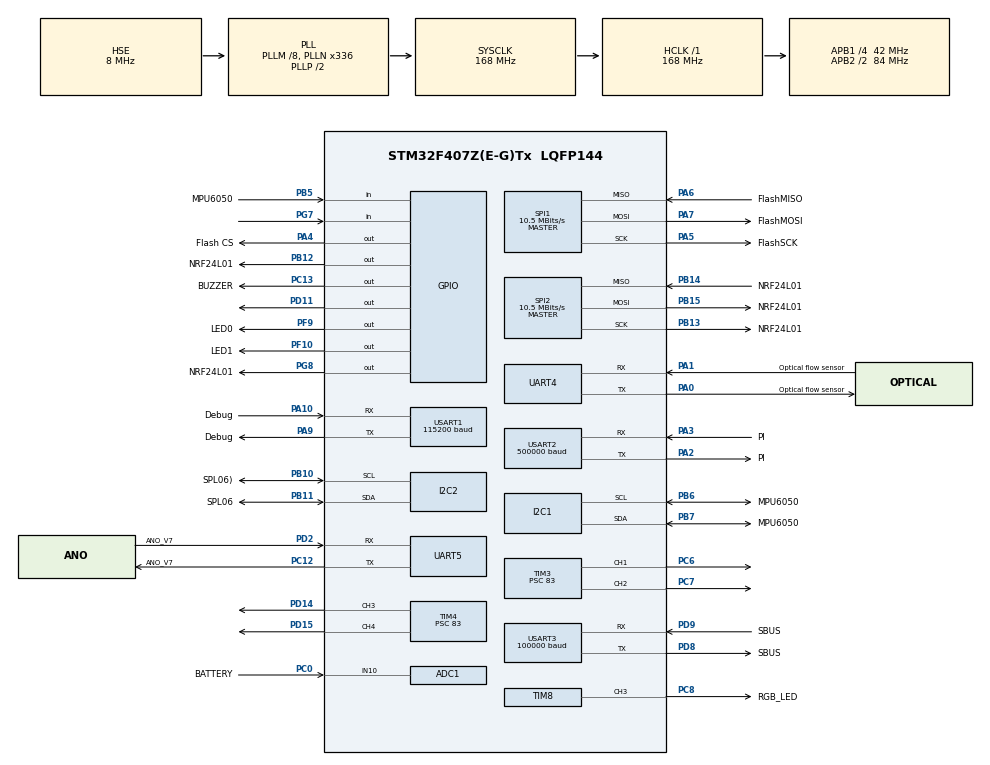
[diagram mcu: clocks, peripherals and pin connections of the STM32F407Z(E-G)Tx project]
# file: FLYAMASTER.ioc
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ADC1.Channel-1\#ChannelRegularConversion=ADC_CHANNEL_10
ADC1.NbrOfConversion=1
ADC1.NbrOfConversionFlag=1
ADC1.Rank-1\#ChannelRegularConversion=1
ADC1.SamplingTime-1\#ChannelRegularConversion=ADC_SAMPLETIME_480CYCLES
ADC1.master=1
Dma.Request0=USART2_RX
Dma.Request1=USART2_TX
Dma.Request2=USART3_RX
Dma.Request3=SPI1_RX
Dma.Request4=SPI1_TX
Dma.Request5=TIM8_CH3
Dma.Request6=UART4_RX
Dma.Request7=USART1_TX
Dma.Request8=UART5_RX
Dma.Request9=UART5_TX
Dma.SPI1_RX.3.Direction=DMA_PERIPH_TO_MEMORY
Dma.SPI1_RX.3.FIFOMode=DMA_FIFOMODE_DISABLE
Dma.SPI1_RX.3.Instance=DMA2_Stream0
Dma.SPI1_RX.3.MemDataAlignment=DMA_MDATAALIGN_BYTE
Dma.SPI1_RX.3.MemInc=DMA_MINC_ENABLE
Dma.SPI1_RX.3.Mode=DMA_NORMAL
Dma.SPI1_RX.3.PeriphDataAlignment=DMA_PDATAALIGN_BYTE
Dma.SPI1_RX.3.PeriphInc=DMA_PINC_DISABLE
Dma.SPI1_RX.3.Priority=DMA_PRIORITY_LOW
Dma.SPI1_TX.4.Direction=DMA_MEMORY_TO_PERIPH
Dma.SPI1_TX.4.FIFOMode=DMA_FIFOMODE_DISABLE
Dma.SPI1_TX.4.Instance=DMA2_Stream3
Dma.SPI1_TX.4.MemDataAlignment=DMA_MDATAALIGN_BYTE
Dma.SPI1_TX.4.MemInc=DMA_MINC_ENABLE
Dma.SPI1_TX.4.Mode=DMA_NORMAL
Dma.SPI1_TX.4.PeriphDataAlignment=DMA_PDATAALIGN_BYTE
Dma.SPI1_TX.4.PeriphInc=DMA_PINC_DISABLE
Dma.SPI1_TX.4.Priority=DMA_PRIORITY_LOW
Dma.TIM8_CH3.5.Direction=DMA_MEMORY_TO_PERIPH
Dma.TIM8_CH3.5.FIFOMode=DMA_FIFOMODE_DISABLE
Dma.TIM8_CH3.5.Instance=DMA2_Stream4
Dma.TIM8_CH3.5.MemDataAlignment=DMA_MDATAALIGN_WORD
Dma.TIM8_CH3.5.MemInc=DMA_MINC_ENABLE
Dma.TIM8_CH3.5.Mode=DMA_NORMAL
Dma.TIM8_CH3.5.PeriphDataAlignment=DMA_PDATAALIGN_WORD
Dma.TIM8_CH3.5.PeriphInc=DMA_PINC_DISABLE
Dma.TIM8_CH3.5.Priority=DMA_PRIORITY_HIGH
Dma.UART4_RX.6.Direction=DMA_PERIPH_TO_MEMORY
Dma.UART4_RX.6.FIFOMode=DMA_FIFOMODE_DISABLE
Dma.UART4_RX.6.Instance=DMA1_Stream2
Dma.UART4_RX.6.MemDataAlignment=DMA_MDATAALIGN_BYTE
Dma.UART4_RX.6.MemInc=DMA_MINC_ENABLE
Dma.UART4_RX.6.Mode=DMA_CIRCULAR
Dma.UART4_RX.6.PeriphDataAlignment=DMA_PDATAALIGN_BYTE
Dma.UART4_RX.6.PeriphInc=DMA_PINC_DISABLE
Dma.UART4_RX.6.Priority=DMA_PRIORITY_MEDIUM
Dma.UART5_RX.8.Direction=DMA_PERIPH_TO_MEMORY
Dma.UART5_RX.8.FIFOMode=DMA_FIFOMODE_DISABLE
Dma.UART5_RX.8.Instance=DMA1_Stream0
Dma.UART5_RX.8.MemDataAlignment=DMA_MDATAALIGN_BYTE
Dma.UART5_RX.8.MemInc=DMA_MINC_ENABLE
Dma.UART5_RX.8.Mode=DMA_CIRCULAR
Dma.UART5_RX.8.PeriphDataAlignment=DMA_PDATAALIGN_BYTE
Dma.UART5_RX.8.PeriphInc=DMA_PINC_DISABLE
Dma.UART5_RX.8.Priority=DMA_PRIORITY_LOW
Dma.UART5_TX.9.Direction=DMA_MEMORY_TO_PERIPH
Dma.UART5_TX.9.FIFOMode=DMA_FIFOMODE_DISABLE
Dma.UART5_TX.9.Instance=DMA1_Stream7
Dma.UART5_TX.9.MemDataAlignment=DMA_MDATAALIGN_BYTE
Dma.UART5_TX.9.MemInc=DMA_MINC_ENABLE
Dma.UART5_TX.9.Mode=DMA_CIRCULAR
Dma.UART5_TX.9.PeriphDataAlignment=DMA_PDATAALIGN_BYTE
Dma.UART5_TX.9.PeriphInc=DMA_PINC_DISABLE
Dma.UART5_TX.9.Priority=DMA_PRIORITY_LOW
Dma.USART1_TX.7.Direction=DMA_MEMORY_TO_PERIPH
Dma.USART1_TX.7.FIFOMode=DMA_FIFOMODE_DISABLE
Dma.USART1_TX.7.Instance=DMA2_Stream7
Dma.USART1_TX.7.MemDataAlignment=DMA_MDATAALIGN_BYTE
Dma.USART1_TX.7.MemInc=DMA_MINC_ENABLE
Dma.USART1_TX.7.Mode=DMA_NORMAL
Dma.USART1_TX.7.PeriphDataAlignment=DMA_PDATAALIGN_BYTE
Dma.USART1_TX.7.PeriphInc=DMA_PINC_DISABLE
Dma.USART1_TX.7.Priority=DMA_PRIORITY_LOW
Dma.USART2_RX.0.Direction=DMA_PERIPH_TO_MEMORY
Dma.USART2_RX.0.FIFOMode=DMA_FIFOMODE_DISABLE
Dma.USART2_RX.0.Instance=DMA1_Stream5
Dma.USART2_RX.0.MemDataAlignment=DMA_MDATAALIGN_BYTE
Dma.USART2_RX.0.MemInc=DMA_MINC_ENABLE
Dma.USART2_RX.0.Mode=DMA_CIRCULAR
Dma.USART2_RX.0.PeriphDataAlignment=DMA_PDATAALIGN_BYTE
Dma.USART2_RX.0.PeriphInc=DMA_PINC_DISABLE
Dma.USART2_RX.0.Priority=DMA_PRIORITY_MEDIUM
Dma.USART2_TX.1.Direction=DMA_MEMORY_TO_PERIPH
Dma.USART2_TX.1.FIFOMode=DMA_FIFOMODE_DISABLE
Dma.USART2_TX.1.Instance=DMA1_Stream6
Dma.USART2_TX.1.MemDataAlignment=DMA_MDATAALIGN_BYTE
Dma.USART2_TX.1.MemInc=DMA_MINC_ENABLE
Dma.USART2_TX.1.Mode=DMA_CIRCULAR
Dma.USART2_TX.1.PeriphDataAlignment=DMA_PDATAALIGN_BYTE
Dma.USART2_TX.1.PeriphInc=DMA_PINC_DISABLE
Dma.USART2_TX.1.Priority=DMA_PRIORITY_MEDIUM
Dma.USART3_RX.2.Direction=DMA_PERIPH_TO_MEMORY
Dma.USART3_RX.2.FIFOMode=DMA_FIFOMODE_DISABLE
Dma.USART3_RX.2.Instance=DMA1_Stream1
Dma.USART3_RX.2.MemDataAlignment=DMA_MDATAALIGN_BYTE
Dma.USART3_RX.2.MemInc=DMA_MINC_ENABLE
Dma.USART3_RX.2.Mode=DMA_CIRCULAR
Dma.USART3_RX.2.PeriphDataAlignment=DMA_PDATAALIGN_BYTE
Dma.USART3_RX.2.PeriphInc=DMA_PINC_DISABLE
Dma.USART3_RX.2.Priority=DMA_PRIORITY_HIGH
FREERTOS.Tasks01=defaultTask,0,128,StartDefaultTask,Default,NULL,Dynamic,NULL,NULL;ctl_task,2,512,StartCtlTask,Default,NULL,Dynamic,NULL,NULL;imu_task,3,512,StartImuTask,Default,NULL,Dynamic,NULL,NULL;comm_task,1,256,StartCommTask,Default,NULL,Dynamic,NULL,NULL
I2C1.I2C_Mode=I2C_Fast
Mcu.Family=STM32F4
Mcu.Name=STM32F407Z(E-G)Tx
Mcu.Package=LQFP144
NVIC.DMA1_Stream0_IRQn=true\:5\:0\:false\:false\:true\:true\:false\:true\:true
NVIC.DMA1_Stream1_IRQn=true\:5\:0\:true\:false\:true\:true\:false\:true\:true
NVIC.DMA1_Stream2_IRQn=true\:5\:0\:false\:false\:true\:true\:false\:true\:true
NVIC.DMA1_Stream5_IRQn=true\:5\:0\:false\:false\:true\:true\:false\:true\:true
NVIC.DMA1_Stream6_IRQn=true\:5\:0\:false\:false\:true\:true\:false\:true\:true
NVIC.DMA1_Stream7_IRQn=true\:5\:0\:false\:false\:true\:true\:false\:true\:true
NVIC.DMA2_Stream0_IRQn=true\:5\:0\:false\:false\:true\:true\:false\:true\:true
NVIC.DMA2_Stream3_IRQn=true\:5\:0\:false\:false\:true\:true\:false\:true\:true
NVIC.DMA2_Stream4_IRQn=true\:5\:0\:false\:false\:true\:true\:false\:true\:true
NVIC.DMA2_Stream7_IRQn=true\:5\:0\:false\:false\:true\:true\:false\:true\:true
NVIC.I2C1_ER_IRQn=true\:7\:0\:true\:false\:true\:true\:true\:true\:true
NVIC.I2C1_EV_IRQn=true\:7\:0\:true\:false\:true\:true\:true\:true\:true
NVIC.PriorityGroup=NVIC_PRIORITYGROUP_4
NVIC.TIM3_IRQn=true\:9\:0\:true\:false\:true\:true\:true\:true\:true
NVIC.TIM4_IRQn=true\:9\:0\:true\:false\:true\:true\:true\:true\:true
NVIC.TIM7_IRQn=true\:15\:0\:false\:false\:true\:false\:false\:true\:true
NVIC.TIM8_UP_TIM13_IRQn=true\:5\:0\:false\:false\:true\:true\:true\:true\:true
NVIC.TimeBase=TIM7_IRQn
NVIC.TimeBaseIP=TIM7
NVIC.UART4_IRQn=true\:5\:0\:false\:false\:true\:true\:true\:true\:true
NVIC.UART5_IRQn=true\:5\:0\:false\:false\:true\:true\:true\:true\:true
NVIC.USART1_IRQn=true\:8\:0\:true\:false\:true\:true\:true\:true\:true
NVIC.USART2_IRQn=true\:8\:0\:true\:false\:true\:true\:false\:true\:true
NVIC.USART3_IRQn=true\:5\:0\:false\:false\:true\:true\:true\:true\:true
PA0-WKUP.GPIO_Label=Optical flow sensor
PA0-WKUP.GPIO_ModeDefaultPP=GPIO_MODE_AF_PP
PA0-WKUP.GPIO_PuPd=GPIO_NOPULL
PA0-WKUP.GPIO_Speed=GPIO_SPEED_FREQ_VERY_HIGH
PA0-WKUP.Mode=Asynchronous
PA0-WKUP.Signal=UART4_TX
PA1.GPIO_Label=Optical flow sensor
PA1.GPIO_ModeDefaultPP=GPIO_MODE_AF_PP
PA1.GPIO_PuPd=GPIO_NOPULL
PA1.GPIO_Speed=GPIO_SPEED_FREQ_VERY_HIGH
PA1.Mode=Asynchronous
PA1.Signal=UART4_RX
PA10.GPIO_Label=Debug
PA10.GPIO_PuPd=GPIO_PULLUP
PA10.Mode=Asynchronous
PA10.Signal=USART1_RX
PA13.Mode=Serial_Wire
PA13.Signal=SYS_JTMS-SWDIO
PA14.Mode=Serial_Wire
PA14.Signal=SYS_JTCK-SWCLK
PA2.GPIO_Label=PI
PA2.GPIO_PuPd=GPIO_PULLUP
PA2.Mode=Asynchronous
PA2.Signal=USART2_TX
PA3.GPIO_Label=PI
PA3.GPIO_PuPd=GPIO_PULLUP
PA3.Mode=Asynchronous
PA3.Signal=USART2_RX
PA4.GPIO_Label=Flash CS
PA4.GPIO_Speed=GPIO_SPEED_FREQ_HIGH
PA4.PinState=GPIO_PIN_SET
PA4.Signal=GPIO_Output
PA5.GPIO_Label=FlashSCK
PA5.GPIO_Speed=GPIO_SPEED_FREQ_HIGH
PA5.Mode=Full_Duplex_Master
PA5.Signal=SPI1_SCK
PA6.GPIO_Label=FlashMISO
PA6.GPIO_Speed=GPIO_SPEED_FREQ_HIGH
PA6.Mode=Full_Duplex_Master
PA6.Signal=SPI1_MISO
PA7.GPIO_Label=FlashMOSI
PA7.GPIO_Speed=GPIO_SPEED_FREQ_HIGH
PA7.Mode=Full_Duplex_Master
PA7.Signal=SPI1_MOSI
PA9.GPIO_Label=Debug
PA9.GPIO_PuPd=GPIO_PULLUP
PA9.Mode=Asynchronous
PA9.Signal=USART1_TX
PB10.GPIO_Label=SPL06)
PB10.Mode=I2C
PB10.Signal=I2C2_SCL
PB11.GPIO_Label=SPL06
PB11.Mode=I2C
PB11.Signal=I2C2_SDA
PB12.GPIO_Label=NRF24L01
PB12.Signal=GPIO_Output
PB13.GPIO_Label=NRF24L01
PB13.Mode=Full_Duplex_Master
PB13.Signal=SPI2_SCK
PB14.GPIO_Label=NRF24L01
PB14.Mode=Full_Duplex_Master
PB14.Signal=SPI2_MISO
PB15.GPIO_Label=NRF24L01
PB15.Mode=Full_Duplex_Master
PB15.Signal=SPI2_MOSI
PB5.GPIO_Label=MPU6050
PB5.Signal=GPIO_Input
PB6.GPIO_Label=MPU6050
PB6.GPIO_Pu=GPIO_PULLUP
PB6.Mode=I2C
PB6.Signal=I2C1_SCL
PB7.GPIO_Label=MPU6050
PB7.GPIO_Pu=GPIO_PULLUP
PB7.Mode=I2C
PB7.Signal=I2C1_SDA
PC0.GPIO_Label=BATTERY
PC0.Signal=ADCx_IN10
PC12.GPIO_Label=ANO_V7
PC12.Mode=Asynchronous
PC12.Signal=UART5_TX
PC13-ANTI_TAMP.GPIO_Label=BUZZER
PC13-ANTI_TAMP.Signal=GPIO_Output
PC6.Signal=S_TIM3_CH1
PC7.Signal=S_TIM3_CH2
PC8.GPIO_Label=RGB_LED
PC8.GPIO_Speed=GPIO_SPEED_FREQ_VERY_HIGH
PC8.Signal=S_TIM8_CH3
PD11.Signal=GPIO_Output
PD14.Signal=S_TIM4_CH3
PD15.Signal=S_TIM4_CH4
PD2.GPIO_Label=ANO_V7
PD2.Mode=Asynchronous
PD2.Signal=UART5_RX
PD8.GPIO_Label=SBUS
PD8.GPIO_PuPd=GPIO_PULLUP
PD8.Mode=Asynchronous
PD8.Signal=USART3_TX
PD9.GPIO_Label=SBUS
PD9.GPIO_PuPd=GPIO_PULLUP
PD9.Mode=Asynchronous
PD9.Signal=USART3_RX
PF10.GPIO_Label=LED1
PF10.GPIO_Speed=GPIO_SPEED_FREQ_HIGH
PF10.Signal=GPIO_Output
PF9.GPIO_Label=LED0
PF9.GPIO_Speed=GPIO_SPEED_FREQ_HIGH
PF9.Signal=GPIO_Output
PG7.Signal=GPIO_Input
PG8.GPIO_Label=NRF24L01
PG8.Signal=GPIO_Output
PH0-OSC_IN.Mode=HSE-External-Oscillator
PH0-OSC_IN.Signal=RCC_OSC_IN
PH1-OSC_OUT.Mode=HSE-External-Oscillator
PH1-OSC_OUT.Signal=RCC_OSC_OUT
ProjectManager.HeapSize=0x200
ProjectManager.StackSize=0x400
ProjectManager.TargetToolchain=MDK-ARM V5.32
RCC.48MHZClocksFreq_Value=84000000
RCC.AHBFreq_Value=168000000
RCC.APB1CLKDivider=RCC_HCLK_DIV4
RCC.APB1Freq_Value=42000000
RCC.APB1TimFreq_Value=84000000
RCC.APB2CLKDivider=RCC_HCLK_DIV2
RCC.APB2Freq_Value=84000000
RCC.APB2TimFreq_Value=168000000
RCC.CortexFreq_Value=168000000
RCC.HCLKFreq_Value=168000000
RCC.HSE_VALUE=8000000
RCC.HSI_VALUE=16000000
RCC.LSE_VALUE=32768
RCC.PLLM=8
RCC.PLLN=336
RCC.PLLSourceVirtual=RCC_PLLSOURCE_HSE
RCC.SYSCLKFreq_VALUE=168000000
RCC.SYSCLKSource=RCC_SYSCLKSOURCE_PLLCLK
RCC.VCOOutputFreq_Value=336000000
SH.ADCx_IN10.0=ADC1_IN10,IN10
SH.S_TIM3_CH1.0=TIM3_CH1,PWM Generation1 CH1
SH.S_TIM3_CH2.0=TIM3_CH2,PWM Generation2 CH2
SH.S_TIM4_CH3.0=TIM4_CH3,PWM Generation3 CH3
SH.S_TIM4_CH4.0=TIM4_CH4,PWM Generation4 CH4
SH.S_TIM8_CH3.0=TIM8_CH3,PWM Generation3 CH3
SPI1.BaudRatePrescaler=SPI_BAUDRATEPRESCALER_8
SPI1.CalculateBaudRate=10.5 MBits/s
SPI1.Direction=SPI_DIRECTION_2LINES
SPI1.Mode=SPI_MODE_MASTER
SPI1.VirtualType=VM_MASTER
SPI2.BaudRatePrescaler=SPI_BAUDRATEPRESCALER_4
SPI2.CalculateBaudRate=10.5 MBits/s
SPI2.Direction=SPI_DIRECTION_2LINES
SPI2.Mode=SPI_MODE_MASTER
SPI2.VirtualType=VM_MASTER
TIM3.Channel-PWM\ Generation1\ CH1=TIM_CHANNEL_1
TIM3.Channel-PWM\ Generation2\ CH2=TIM_CHANNEL_2
TIM3.Period=2499
TIM3.Prescaler=83
TIM4.Channel-PWM\ Generation3\ CH3=TIM_CHANNEL_3
TIM4.Channel-PWM\ Generation4\ CH4=TIM_CHANNEL_4
TIM4.Period=2499
TIM4.Prescaler=83
TIM4.Pulse-PWM\ Generation3\ CH3=1000
TIM8.Channel-PWM\ Generation3\ CH3=TIM_CHANNEL_3
TIM8.Period=209
UART4.VirtualMode=Asynchronous
UART5.VirtualMode=Asynchronous
USART1.BaudRate=115200
USART1.Parity=PARITY_NONE
USART1.StopBits=STOPBITS_1
USART1.VirtualMode=VM_ASYNC
USART1.WordLength=WORDLENGTH_8B
USART2.BaudRate=500000
USART2.VirtualMode=VM_ASYNC
USART3.BaudRate=100000
USART3.Mode=MODE_RX
USART3.Parity=PARITY_EVEN
USART3.StopBits=STOPBITS_2
USART3.VirtualMode=VM_ASYNC
USART3.WordLength=WORDLENGTH_9B
VP_FREERTOS_VS_CMSIS_V1.Mode=CMSIS_V1
VP_SYS_VS_tim7.Mode=TIM7
VP_TIM8_VS_ClockSourceINT.Mode=Internal
board=custom

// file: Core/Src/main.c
/* USER CODE BEGIN Header */
/**
  ******************************************************************************
  * @file           : main.c
  * @brief          : Main program body
  ******************************************************************************
  * @attention
  *
  * Copyright (c) 2026 STMicroelectronics.
  * All rights reserved.
  *
  * This software is licensed under terms that can be found in the LICENSE file
  * in the root directory of this software component.
  * If no LICENSE file comes with this software, it is provided AS-IS.
  *
  ******************************************************************************
  */
/* USER CODE END Header */
#include "main.h"
#include "cmsis_os.h"
#include "adc.h"
#include "dma.h"
#include "i2c.h"
#include "spi.h"
#include "tim.h"
#include "usart.h"
#include "gpio.h"

void SystemClock_Config(void);
void MX_FREERTOS_Init(void);

int main(void)
{

  /* MCU Configuration--------------------------------------------------------*/

  /* Reset of all peripherals, Initializes the Flash interface and the Systick. */
  HAL_Init();

  /* Configure the system clock */
  SystemClock_Config();

  /* Initialize all configured peripherals */
  MX_GPIO_Init();
  MX_DMA_Init();
  MX_ADC1_Init();
  MX_I2C1_Init();
  MX_I2C2_Init();
  MX_SPI2_Init();
  MX_TIM3_Init();
  MX_TIM4_Init();
  MX_USART1_UART_Init();
  MX_USART2_UART_Init();
  MX_UART4_Init();
  MX_USART3_UART_Init();
  MX_SPI1_Init();
  MX_TIM8_Init();
  MX_UART5_Init();

  /* Call init function for freertos objects (in cmsis_os2.c) */
  MX_FREERTOS_Init();

  /* Start scheduler */
  osKernelStart();

  /* We should never get here as control is now taken by the scheduler */

  /* Infinite loop */
  while (1)
  {

  }
}

void SystemClock_Config(void)
{
  RCC_OscInitTypeDef RCC_OscInitStruct = {0};
  RCC_ClkInitTypeDef RCC_ClkInitStruct = {0};

  /** Configure the main internal regulator output voltage
  */
  __HAL_RCC_PWR_CLK_ENABLE();
  __HAL_PWR_VOLTAGESCALING_CONFIG(PWR_REGULATOR_VOLTAGE_SCALE1);

  /** Initializes the RCC Oscillators according to the specified parameters
  * in the RCC_OscInitTypeDef structure.
  */
  RCC_OscInitStruct.OscillatorType = RCC_OSCILLATORTYPE_HSE;
  RCC_OscInitStruct.HSEState = RCC_HSE_ON;
  RCC_OscInitStruct.PLL.PLLState = RCC_PLL_ON;
  RCC_OscInitStruct.PLL.PLLSource = RCC_PLLSOURCE_HSE;
  RCC_OscInitStruct.PLL.PLLM = 8;
  RCC_OscInitStruct.PLL.PLLN = 336;
  RCC_OscInitStruct.PLL.PLLP = RCC_PLLP_DIV2;
  RCC_OscInitStruct.PLL.PLLQ = 4;
  if (HAL_RCC_OscConfig(&RCC_OscInitStruct) != HAL_OK)
  {
    Error_Handler();
  }

  /** Initializes the CPU, AHB and APB buses clocks
  */
  RCC_ClkInitStruct.ClockType = RCC_CLOCKTYPE_HCLK|RCC_CLOCKTYPE_SYSCLK
                              |RCC_CLOCKTYPE_PCLK1|RCC_CLOCKTYPE_PCLK2;
  RCC_ClkInitStruct.SYSCLKSource = RCC_SYSCLKSOURCE_PLLCLK;
  RCC_ClkInitStruct.AHBCLKDivider = RCC_SYSCLK_DIV1;
  RCC_ClkInitStruct.APB1CLKDivider = RCC_HCLK_DIV4;
  RCC_ClkInitStruct.APB2CLKDivider = RCC_HCLK_DIV2;

  if (HAL_RCC_ClockConfig(&RCC_ClkInitStruct, FLASH_LATENCY_5) != HAL_OK)
  {
    Error_Handler();
  }
}

void HAL_TIM_PeriodElapsedCallback(TIM_HandleTypeDef *htim)
{
  // Risk #082 修复：指针空检查（防御性编程）
  if (htim == NULL) {
      return;
  }

  if (htim->Instance == TIM7)
  {
    HAL_IncTick();
  }
}

void Error_Handler(void)
{
  __disable_irq();
  while (1)
  {
  }
}
#ifdef USE_FULL_ASSERT
/**
  * @brief  Reports the name of the source file and the source line number
  *         where the assert_param error has occurred.
  * @param  file: pointer to the source file name
  * @param  line: assert_param error line source number
  * @retval None
  */
void assert_failed(uint8_t *file, uint32_t line)
{
  /* USER CODE BEGIN 6 */
  // Risk #083 修复：指针空检查（如果启用USE_FULL_ASSERT并使用file指针）
  if (file == NULL) {
      return;
  }
  /* User can add his own implementation to report the file name and line number,
     ex: printf("Wrong parameters value: file %s on line %d\r\n", file, line) */
  /* USER CODE END 6 */
}
#endif /* USE_FULL_ASSERT */

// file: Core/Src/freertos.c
/* USER CODE BEGIN Header */
/**
  ******************************************************************************
  * File Name          : freertos.c
  * Description        : Code for freertos applications
  ******************************************************************************
  * @attention
  *
  * Copyright (c) 2026 STMicroelectronics.
  * All rights reserved.
  *
  * This software is licensed under terms that can be found in the LICENSE file
  * in the root directory of this software component.
  * If no LICENSE file comes with this software, it is provided AS-IS.
  *
  ******************************************************************************
  */
/* USER CODE END Header */

#include "FreeRTOS.h"
#include "task.h"
#include "main.h"
#include "cmsis_os.h"

/* USER CODE BEGIN Includes */
#include "gpio.h"
#include <stdio.h>
#include <math.h>
#include "i2c.h"
#include "mpu6050.h"
#include "usart.h"
#include "sbus.h"
#include "tim.h"
#include "motor.h"
#include "pid.h"
#include "filter.h"
#include "optical_flow.h"
#include "protocol.h"
#include "adc.h"
#include "buzzer.h"
#include "altitude.h"
#include "w25qxx.h"
#include "flash_params.h"
#include "qmc5883l.h"  // QMC5883L 磁力计驱动

// 外部变量声明 (来自 tim.c, usart.c, i2c.c 和 spi.c)
extern TIM_HandleTypeDef htim3;
extern TIM_HandleTypeDef htim4;
extern UART_HandleTypeDef huart1;  // 原有上位机协议使用 UART1 (PA9/PA10)
extern UART_HandleTypeDef huart3;  // SBUS 接收机使用 UART3 (PB10/PB11)
extern UART_HandleTypeDef huart4;  // 光流模块使用 UART4 (PA0/PA1)
extern UART_HandleTypeDef huart5;  // 匿名上位机 V7 协议使用 UART5 (PC12/PD2)
extern I2C_HandleTypeDef hi2c1;    // MPU6050, QMC5883L 使用 I2C1 (PB8/PB9)
extern I2C_HandleTypeDef hi2c2;    // SPL06 气压计使用 I2C2 (PB10/PB11)
extern SPI_HandleTypeDef hspi1;    // W25Q128 Flash 使用 SPI1 (PA5/PA6/PA7)

// 安全相关宏定义
#define PRE_ARM_MAX_TILT        20.0f   // 解锁前最大倾角 (度)
#define CRASH_MAX_TILT          60.0f   // 炸机检测倾角阈值 (度)
#define CRASH_DETECT_TIME       500     // 倾角超限持续时间 (ms)
#define MOTOR_STUCK_THROTTLE    0.9f    // 满油门阈值
#define MOTOR_STUCK_ACC_MIN     0.5f    // 电机卡死加速度阈值 (g)
#define MOTOR_STUCK_TIME        500     // 电机卡死检测时间 (ms)
/* USER CODE END Includes */

/* USER CODE BEGIN Variables */

// ============= 飞控核心变量 =============

// 姿态数据 (由 imu_task 更新，ctl_task 读取)
volatile float g_roll = 0.0f, g_pitch = 0.0f, g_yaw = 0.0f;
volatile float g_gyro_x = 0.0f, g_gyro_y = 0.0f, g_gyro_z = 0.0f;

// 光流速度数据 (由 comm_task 更新)
volatile float g_flow_vx = 0.0f, g_flow_vy = 0.0f;

// 飞行状态机
typedef enum {
    FLIGHT_DISARMED = 0,  // 上锁状态 (电机停止)
    FLIGHT_ARMED = 1      // 解锁状态 (电机可控)
} FlightState_t;

// 飞行模式
typedef enum {
    MODE_MANUAL = 0,      // 手动模式 (姿态控制)
    MODE_ALTITUDE = 1,    // 定高模式 (高度锁定)
    MODE_POSITION = 2     // 定点模式 (位置锁定)
} FlightMode_t;

volatile FlightState_t g_flight_state = FLIGHT_DISARMED;
volatile FlightMode_t g_flight_mode = MODE_MANUAL;

static uint32_t arm_gesture_start = 0;
static uint32_t disarm_gesture_start = 0;
#define ARM_GESTURE_DURATION 1000  // 需要保持解锁手势 1 秒

// PID 控制器 (外环: 角度, 内环: 角速度)
PID_TypeDef pid_roll_angle, pid_roll_rate;
PID_TypeDef pid_pitch_angle, pid_pitch_rate;
PID_TypeDef pid_yaw_angle, pid_yaw_rate;  // Yaw 角度环 + 角速度环

// 位置环 PID (用于定点模式)
PID_TypeDef pid_pos_x, pid_pos_y;

// 高度控制 PID (用于定高模式)
PID_TypeDef pid_alt_pos;   // 高度位置环
PID_TypeDef pid_alt_vel;   // 高度速度环

// 高度控制目标
static float alt_target = 1.0f;  // 目标高度 (m)，默认 1 米
static uint8_t alt_hold_enabled = 0;  // 高度保持使能

// 悬停油门估计
#define HOVER_THROTTLE_INIT  0.45f   // 初始悬停油门估计
static float hover_throttle = HOVER_THROTTLE_INIT;

// Yaw 航向锁定相关变量
static float yaw_target_locked = 0.0f;
static uint8_t yaw_locked = 0;
#define YAW_STICK_DEADZONE 0.05f  // Yaw 摇杆死区

// 低通滤波器 (用于陀螺仪)
LPF2_TypeDef lpf_gyro_x, lpf_gyro_y, lpf_gyro_z;

// 光流接收缓冲区 (外部定义，用于 DMA)
extern uint8_t flow_rx_buf[64];

// 电池电压
volatile float g_battery_voltage = 0.0f;
#define BATTERY_CELL_COUNT  3  // 默认 3S 电池

// 上位机心跳看门狗 (防止树莓派卡死时飞机失控)
volatile uint32_t g_pi_last_heartbeat = 0;  // 最后收到上位机指令的时间
#define PI_HEARTBEAT_TIMEOUT  500  // 500ms 超时

// 炸机检测相关变量
static uint32_t crash_tilt_start = 0;      // 倾角超限开始时间
static uint32_t motor_stuck_start = 0;     // 电机卡死检测开始时间

// 匿名上位机 PID 写入回调
void AnoV7_PID_Handler(AnoV7_PID_t *pid_data) {
    if (pid_data == NULL) return;

    // 获取 Flash 参数中的 PID 指针
    PID_Params_t *p_params = FlashParams_GetPID((PID_Index_t)pid_data->pid_id);

    if (p_params != NULL) {
        // 更新参数
        p_params->kp = pid_data->kp;
        p_params->ki = pid_data->ki;
        p_params->kd = pid_data->kd;

        // 应用到实时 PID 控制器
        FlashParams_ApplyToPID();

        // 标记参数已修改 (触发延迟保存)
        FlashParams_MarkDirty();

        // 发送回传确认
        AnoV7_SendPID(pid_data->pid_id);

        printf("[AnoV7] PID Updated: ID=%d, P=%.3f, I=%.3f, D=%.3f\r\n",
               pid_data->pid_id, pid_data->kp, pid_data->ki, pid_data->kd);
    }
}

/* USER CODE END Variables */
osThreadId defaultTaskHandle;
osThreadId ctl_taskHandle;
osThreadId imu_taskHandle;
osThreadId comm_taskHandle;

/* USER CODE BEGIN FunctionPrototypes */

// ============= 安全检查函数 =============

/**
 * @brief 解锁前安全检查
 * @return 1: 安全可解锁, 0: 不安全
 */
static uint8_t PreArm_SafetyCheck(void) {
    // 1. 检查倾角是否过大 (防止歪着解锁)
    if (fabs(g_roll) > PRE_ARM_MAX_TILT || fabs(g_pitch) > PRE_ARM_MAX_TILT) {
        printf("Pre-Arm FAILED: Tilt too large! Roll=%.1f, Pitch=%.1f\r\n", g_roll, g_pitch);
        return 0;
    }

    // 2. 检查油门是否归零 (防止带油门解锁)
    float throttle = SBUS_GetThrottle();
    if (throttle > 0.1f) {
        printf("Pre-Arm FAILED: Throttle not zero! Throttle=%.2f\r\n", throttle);
        return 0;
    }

    // 3. 检查电池电压是否健康
    if (Battery_IsCritical(g_battery_voltage, BATTERY_CELL_COUNT)) {
        printf("Pre-Arm FAILED: Battery critical! V=%.2f\r\n", g_battery_voltage);
        return 0;
    }

    // 4. 检查陀螺仪是否已校准
    if (!MPU6050_IsCalibrated()) {
        printf("Pre-Arm FAILED: Gyro not calibrated!\r\n");
        return 0;
    }

    return 1;  // 所有检查通过
}

/**
 * @brief 炸机检测 (倾角过大或电机卡死)
 * @return 1: 检测到炸机, 0: 正常
 */
static uint8_t Crash_Detection(float throttle, float acc_magnitude) {
    uint32_t now = HAL_GetTick();

    // 1. 倾角超限检测
    if (fabs(g_roll) > CRASH_MAX_TILT || fabs(g_pitch) > CRASH_MAX_TILT) {
        if (crash_tilt_start == 0) {
            crash_tilt_start = now;
        } else if (now - crash_tilt_start > CRASH_DETECT_TIME) {
            printf(">>> CRASH: Tilt exceeded %.0f deg! <<<\r\n", CRASH_MAX_TILT);
            return 1;
        }
    } else {
        crash_tilt_start = 0;  // 恢复正常，重置计时
    }

    // 2. 电机卡死检测 (满油门但无加速度响应)
    if (throttle > MOTOR_STUCK_THROTTLE) {
        if (acc_magnitude < MOTOR_STUCK_ACC_MIN) {
            if (motor_stuck_start == 0) {
                motor_stuck_start = now;
            } else if (now - motor_stuck_start > MOTOR_STUCK_TIME) {
                printf(">>> CRASH: Motor stuck! Throttle=%.2f, Acc=%.2f <<<\r\n", throttle, acc_magnitude);
                return 1;
            }
        } else {
            motor_stuck_start = 0;
        }
    } else {
        motor_stuck_start = 0;
    }

    return 0;  // 正常
}

/* USER CODE END FunctionPrototypes */

void StartDefaultTask(void const * argument);
void StartCtlTask(void const * argument);
void StartImuTask(void const * argument);
void StartCommTask(void const * argument);

void MX_FREERTOS_Init(void); /* (MISRA C 2004 rule 8.1) */

/* GetIdleTaskMemory prototype (linked to static allocation support) */
void vApplicationGetIdleTaskMemory( StaticTask_t **ppxIdleTaskTCBBuffer, StackType_t **ppxIdleTaskStackBuffer, uint32_t *pulIdleTaskStackSize );

/* USER CODE BEGIN GET_IDLE_TASK_MEMORY */
static StaticTask_t xIdleTaskTCBBuffer;
static StackType_t xIdleStack[configMINIMAL_STACK_SIZE];

void vApplicationGetIdleTaskMemory( StaticTask_t **ppxIdleTaskTCBBuffer, StackType_t **ppxIdleTaskStackBuffer, uint32_t *pulIdleTaskStackSize )
{
  *ppxIdleTaskTCBBuffer = &xIdleTaskTCBBuffer;
  *ppxIdleTaskStackBuffer = &xIdleStack[0];
  *pulIdleTaskStackSize = configMINIMAL_STACK_SIZE;
  /* place for user code */
}
/* USER CODE END GET_IDLE_TASK_MEMORY */

void MX_FREERTOS_Init(void) {

  /* Create the thread(s) */
  /* definition and creation of defaultTask */
  osThreadDef(defaultTask, StartDefaultTask, osPriorityNormal, 0, 128);
  defaultTaskHandle = osThreadCreate(osThread(defaultTask), NULL);

  /* definition and creation of ctl_task */
  osThreadDef(ctl_task, StartCtlTask, osPriorityHigh, 0, 512);
  ctl_taskHandle = osThreadCreate(osThread(ctl_task), NULL);

  /* definition and creation of imu_task */
  osThreadDef(imu_task, StartImuTask, osPriorityRealtime, 0, 512);
  imu_taskHandle = osThreadCreate(osThread(imu_task), NULL);

  /* definition and creation of comm_task */
  osThreadDef(comm_task, StartCommTask, osPriorityAboveNormal, 0, 256);
  comm_taskHandle = osThreadCreate(osThread(comm_task), NULL);

  /* USER CODE BEGIN RTOS_THREADS */
  // ========== QMC5883L 磁力计初始化（Risk #028 修复：移到任务启动前） ==========
  printf("Initializing QMC5883L Magnetometer...\r\n");
  if (QMC5883L_Init(&hi2c1) == 0) {
      printf("QMC5883L Init Success! (I2C1, 50Hz, ±2G)\r\n");
  } else {
      printf("QMC5883L Init Failed! Check I2C1 wiring.\r\n");
  }

  // ========== Flash 参数存储初始化 ==========
  printf("Initializing Flash Storage...\r\n");
  if (FlashParams_Init() == 0) {
      printf("Flash Init Success! ID: 0x%04X\r\n", W25QXX_ReadID());

      // 应用加载的参数到 PID 控制器
      FlashParams_ApplyToPID();
  } else {
      printf("Flash Init Failed! Using default params.\r\n");
  }

  // ========== 匿名上位机 V7 协议初始化 ==========
  printf("Initializing Anonymous V7 Protocol...\r\n");
  AnoV7_Init(&huart5);
  AnoV7_RegisterPIDCallback(AnoV7_PID_Handler); // 注册 PID 写入回调
  printf("Anonymous V7 Init Success! (UART5, PC12/PD2, 115200 baud)\r\n");

  // 启动 SBUS DMA 接收
  SBUS_Init(&huart3);

  // 初始化电机 PWM (TIM3: M1/M2, TIM4: M3/M4)
  Motor_Init(&htim3, &htim4);

  // 初始化光流模块 (使用 UART4 - PA0/PA1)
  OpticalFlow_Init(&huart4);

  // 初始化蜂鸣器
  Buzzer_Init();

  // 初始化 PID 控制器 (如果 Flash 加载失败，使用默认值)
  // 外环 (角度环): 输出限幅 ±200 deg/s，无积分
  PID_Init(&pid_roll_angle, 5.0f, 0.0f, 0.0f, 200.0f, 0.0f);
  PID_Init(&pid_pitch_angle, 5.0f, 0.0f, 0.0f, 200.0f, 0.0f);

  // 内环 (角速度环): 输出限幅 ±0.5 (对应混控范围)，积分限幅 ±0.2
  PID_Init(&pid_roll_rate, 0.8f, 0.02f, 0.01f, 0.5f, 0.2f);
  PID_Init(&pid_pitch_rate, 0.8f, 0.02f, 0.01f, 0.5f, 0.2f);
  PID_Init(&pid_yaw_rate, 1.0f, 0.05f, 0.0f, 0.5f, 0.2f);

  // Yaw 角度环 (用于航向锁定): 输出限幅 ±100 deg/s
  PID_Init(&pid_yaw_angle, 3.0f, 0.0f, 0.0f, 100.0f, 0.0f);

  // 位置环 PID (定点模式使用)
  PID_Init(&pid_pos_x, 0.5f, 0.0f, 0.0f, 15.0f, 0.0f);  // 输出限幅 ±15 度
  PID_Init(&pid_pos_y, 0.5f, 0.0f, 0.0f, 15.0f, 0.0f);

  // 高度环 PID (定高模式使用)
  // 位置环: 输出限幅 ±2.0 m/s
  PID_Init(&pid_alt_pos, 1.5f, 0.0f, 0.0f, 2.0f, 0.0f);
  // 速度环: 输出限幅 ±0.3 (油门增量)
  PID_Init(&pid_alt_vel, 0.15f, 0.02f, 0.01f, 0.3f, 0.15f);

  // 初始化高度融合模块
  Altitude_Init(&Alt_Data);

  // 初始化陀螺仪低通滤波器 (采样 500Hz, 截止 30Hz)
  LPF2_Init(&lpf_gyro_x, 500.0f, 30.0f);
  LPF2_Init(&lpf_gyro_y, 500.0f, 30.0f);
  LPF2_Init(&lpf_gyro_z, 500.0f, 30.0f);
  /* USER CODE END RTOS_THREADS */

}

void StartDefaultTask(void const * argument)
{
  /* USER CODE BEGIN StartDefaultTask */
  printf("System Started! FreeRTOS is running...\r\n");

  // 启动提示音
  Buzzer_SetState(BUZZER_CALIBRATING);

  /* Infinite loop */
  for(;;)
  {
    HAL_GPIO_TogglePin(LED0_GPIO_Port, LED0_Pin);

    // 更新蜂鸣器状态机
    Buzzer_Update();

    osDelay(10);  // 10ms 周期供蜂鸣器状态机使用
  }
  /* USER CODE END StartDefaultTask */
}

/* USER CODE BEGIN Header_StartCtlTask */
/**
* @brief Function implementing the ctl_task thread.
*        控制任务: 串级 PID + 电机混控
* @param argument: Not used
* @retval None
*/
/* USER CODE END Header_StartCtlTask */
void StartCtlTask(void const * argument)
{
  /* USER CODE BEGIN StartCtlTask */
  float target_roll = 0.0f, target_pitch = 0.0f;
  float target_yaw_rate = 0.0f;
  float roll_rate_out, pitch_rate_out, yaw_rate_out;
  float throttle, roll_ctl, pitch_ctl, yaw_ctl;
  float pos_roll_offset = 0.0f, pos_pitch_offset = 0.0f;
  float throttle_out = 0.0f;  // 最终油门输出
  float alt_vel_target = 0.0f;  // 目标垂直速度
  float alt_throttle_offset = 0.0f;  // 高度环油门补偿

  // 等待传感器初始化完成
  osDelay(500);

  printf("Control Task Started!\r\n");

  /* Infinite loop */
  for(;;)
  {
    // ========== 1. 解锁/上锁状态机 ==========
    if (g_flight_state == FLIGHT_DISARMED) {
        // 检测解锁手势
        if (SBUS_IsConnected() && SBUS_CheckArmGesture()) {
            if (arm_gesture_start == 0) {
                arm_gesture_start = HAL_GetTick();
            } else if (HAL_GetTick() - arm_gesture_start > ARM_GESTURE_DURATION) {
                // ========== 解锁前安全检查 ==========
                if (PreArm_SafetyCheck()) {
                    g_flight_state = FLIGHT_ARMED;
                    arm_gesture_start = 0;
                    printf(">>> ARMED! <<<\r\n");

                    // 解锁提示音
                    Buzzer_SetState(BUZZER_ARMED);

                    // 启用 AirMode 电机怠速保护
                    Motor_SetAirMode(1);
                    printf("AirMode: Enabled (Idle PWM = 1100)\r\n");

                    // 重置 PID 积分
                    PID_Reset(&pid_roll_rate);
                    PID_Reset(&pid_pitch_rate);
                    PID_Reset(&pid_yaw_rate);
                    PID_Reset(&pid_pos_x);
                    PID_Reset(&pid_pos_y);

                    // 重置炸机检测计时器
                    crash_tilt_start = 0;
                    motor_stuck_start = 0;
                } else {
                    // 安全检查未通过
                    arm_gesture_start = 0;
                    Buzzer_SetState(BUZZER_FAILSAFE);
                }
            }
        } else {
            arm_gesture_start = 0;
        }

        // 上锁状态: 电机停止
        Motor_Stop();

    } else {  // FLIGHT_ARMED
        // 检测上锁手势
        if (SBUS_CheckDisarmGesture()) {
            if (disarm_gesture_start == 0) {
                disarm_gesture_start = HAL_GetTick();
            } else if (HAL_GetTick() - disarm_gesture_start > ARM_GESTURE_DURATION) {
                g_flight_state = FLIGHT_DISARMED;
                disarm_gesture_start = 0;
                printf(">>> DISARMED! <<<\r\n");

                // 禁用 AirMode（允许电机完全停止）
                Motor_SetAirMode(0);
                printf("AirMode: Disabled (Full Stop)\r\n");

                // 上锁提示音
                Buzzer_SetState(BUZZER_DISARMED);
            }
        } else {
            disarm_gesture_start = 0;
        }

        // ========== 上锁时自动保存参数 ==========
        // 检测到从 ARMED 切换到 DISARMED 时，保存参数到 Flash
        static FlightState_t last_flight_state = FLIGHT_DISARMED;
        if (last_flight_state == FLIGHT_ARMED && g_flight_state == FLIGHT_DISARMED) {
            // 刚刚上锁，检查是否有参数需要保存
            if (FlashParams_IsDirty()) {
                printf("Disarmed, saving params to Flash...\r\n");
                FlashParams_Save();
            }
        }
        last_flight_state = g_flight_state;

        // 失控保护: 信号丢失或接收机进入失控模式立即上锁
        // Risk #091 修复：增加 SBUS Failsafe 标志位检查
        if (!SBUS_IsConnected() || SBUS_Data.failsafe) {
            g_flight_state = FLIGHT_DISARMED;
            Motor_Stop();
            Buzzer_SetState(BUZZER_FAILSAFE);
            if (SBUS_Data.failsafe) {
                printf(">>> FAILSAFE: RX Failsafe Active! <<<\r\n");
            } else {
                printf(">>> FAILSAFE: Signal Lost! <<<\r\n");
            }
            osDelay(4);
            continue;
        }

        // 低电压保护
        if (Battery_IsCritical(g_battery_voltage, BATTERY_CELL_COUNT)) {
            // 危急电压: 自动降落 (降低油门)
            Buzzer_SetState(BUZZER_CRITICAL);
        } else if (Battery_IsLow(g_battery_voltage, BATTERY_CELL_COUNT)) {
            // 低电压警告
            Buzzer_SetState(BUZZER_LOW_VOLTAGE);
        }

        // ========== 炸机检测 ==========
        // 计算加速度合矢量 (用于电机卡死检测)
        // 使用 MPU6050 的真实加速度数据
        float acc_magnitude = sqrtf(
            MPU6050_Data.Ax * MPU6050_Data.Ax +
            MPU6050_Data.Ay * MPU6050_Data.Ay +
            MPU6050_Data.Az * MPU6050_Data.Az
        );
        throttle = SBUS_GetThrottle();

        if (Crash_Detection(throttle, acc_magnitude)) {  // 传入真实加速度
            g_flight_state = FLIGHT_DISARMED;
            Motor_Stop();
            Buzzer_SetState(BUZZER_FAILSAFE);
            printf(">>> AUTO DISARM: Crash detected! <<<\r\n");
            osDelay(4);
            continue;
        }

        // 上位机心跳超时保护 (定点模式下生效)
        if (g_flight_mode == MODE_POSITION) {
            if (HAL_GetTick() - g_pi_last_heartbeat > PI_HEARTBEAT_TIMEOUT) {
                // 树莓派超时，切换回手动模式
                g_flight_mode = MODE_MANUAL;
                printf(">>> PI TIMEOUT: Switch to MANUAL <<<\r\n");
            }
        }

        // ========== 2. 飞行模式切换 (CH5 三段开关) ==========
        int16_t ch5_val = SBUS_Data.channels[4];  // CH5 用于模式切换
        if (ch5_val < 500) {
            g_flight_mode = MODE_MANUAL;
        } else if (ch5_val < 1500) {
            g_flight_mode = MODE_ALTITUDE;
        } else {
            g_flight_mode = MODE_POSITION;
        }

        // ========== 3. 获取遥控器输入 ==========
        throttle = SBUS_GetThrottle();       // 0.0 ~ 1.0
        roll_ctl = SBUS_GetRoll();           // -1.0 ~ 1.0
        pitch_ctl = SBUS_GetPitch();         // -1.0 ~ 1.0
        yaw_ctl = SBUS_GetYaw();             // -1.0 ~ 1.0

        // ========== 3.5 磁力计校准触发 (上锁状态下) ==========
        // 手势: 双摇杆外八字 (左摇杆左下，右摇杆右下) 持续 2 秒
        // Left: Thr < 0.1, Yaw < -0.9
        // Right: Pitch < -0.9, Roll > 0.9
        static uint32_t mag_calib_start = 0;
        if (g_flight_state == FLIGHT_DISARMED) {
            if (throttle < 0.1f && yaw_ctl < -0.9f && pitch_ctl < -0.9f && roll_ctl > 0.9f) {
                if (mag_calib_start == 0) {
                    mag_calib_start = HAL_GetTick();
                } else if (HAL_GetTick() - mag_calib_start > 2000) {
                    // 触发校准
                    QMC5883L_Calibrate();
                    Buzzer_SetState(BUZZER_CALIBRATING); // 提示音
                    mag_calib_start = 0; // 重置防止重复触发
                }
            } else {
                mag_calib_start = 0;
            }
        }

        // ========== 4. 根据飞行模式计算期望角度 ==========
        pos_roll_offset = 0.0f;
        pos_pitch_offset = 0.0f;

        if (g_flight_mode == MODE_POSITION && Flow_Data.valid) {
            // 定点模式: 光流速度补偿
            // 光流 X 对应 Roll, 光流 Y 对应 Pitch
            pos_roll_offset = PID_Calculate(&pid_pos_x, 0.0f, g_flow_vx, 0.004f);
            pos_pitch_offset = PID_Calculate(&pid_pos_y, 0.0f, g_flow_vy, 0.004f);
        }

        // 计算期望角度 (最大倾角 30 度 + 位置补偿)
        target_roll = roll_ctl * 30.0f + pos_roll_offset;
        target_pitch = pitch_ctl * 30.0f + pos_pitch_offset;

        // ========== Yaw 航向锁定逻辑 ==========
        // 防止纯 6 轴的 Yaw 漂移导致定点时画圈
        if (fabs(yaw_ctl) < YAW_STICK_DEADZONE) {
            // 摇杆回中，锁定当前航向
            if (!yaw_locked) {
                yaw_target_locked = g_yaw;
                yaw_locked = 1;
            }
            // 使用角度环 PID 锁定航向
            target_yaw_rate = PID_Calculate(&pid_yaw_angle, yaw_target_locked, g_yaw, 0.004f);
        } else {
            // 摇杆有输入，解除锁定，直接控制角速度
            yaw_locked = 0;
            target_yaw_rate = yaw_ctl * 200.0f;  // 最大偏航速率 200 deg/s
        }

        // ========== 5. 串级 PID 计算 ==========
        // 外环: 角度 -> 期望角速度
        float target_roll_rate = PID_Calculate(&pid_roll_angle, target_roll, g_roll, 0.004f);
        float target_pitch_rate = PID_Calculate(&pid_pitch_angle, target_pitch, g_pitch, 0.004f);

        // 内环: 角速度 -> 电机控制量
        // 注意: 陀螺仪输出是 rad/s，需要转换为 deg/s
        roll_rate_out = PID_Calculate(&pid_roll_rate, target_roll_rate, g_gyro_x * 57.29578f, 0.004f);
        pitch_rate_out = PID_Calculate(&pid_pitch_rate, target_pitch_rate, g_gyro_y * 57.29578f, 0.004f);
        yaw_rate_out = PID_Calculate(&pid_yaw_rate, target_yaw_rate, g_gyro_z * 57.29578f, 0.004f);

        // ========== 5.5 高度环 PID 控制 (定高模式) ==========
        if (g_flight_mode == MODE_ALTITUDE && Altitude_IsReady(&Alt_Data)) {
            // 定高模式: 使用高度环 PID 控制油门
            float current_height = Altitude_GetHeight(&Alt_Data);
            float current_vel = Altitude_GetVelocity(&Alt_Data);

            // 当油门推过中点时，启动高度保持
            if (throttle > 0.45f && throttle < 0.55f) {
                // 油门在中点附近，启用高度保持
                if (!alt_hold_enabled) {
                    alt_target = current_height;  // 锁定当前高度
                    alt_hold_enabled = 1;
                    PID_Reset(&pid_alt_pos);
                    PID_Reset(&pid_alt_vel);
                    printf("Alt Hold: Target=%.2fm\r\n", alt_target);
                }

                // 串级 PID: 位置环 -> 速度环
                alt_vel_target = PID_Calculate(&pid_alt_pos, alt_target, current_height, 0.004f);
                alt_throttle_offset = PID_Calculate(&pid_alt_vel, alt_vel_target, current_vel, 0.004f);

                // 使用悬停油门 + PID 补偿
                throttle_out = hover_throttle + alt_throttle_offset;

            } else {
                // 油门不在中点，手动控制高度
                alt_hold_enabled = 0;

                if (throttle > 0.55f) {
                    // 推油门: 上升
                    alt_target = current_height + (throttle - 0.55f) * 0.1f;  // 上升幅度
                } else if (throttle < 0.45f) {
                    // 收油门: 下降
                    alt_target = current_height - (0.45f - throttle) * 0.1f;  // 下降幅度
                    if (alt_target < 0.1f) alt_target = 0.1f;  // 最低高度限制
                }

                throttle_out = throttle;  // 手动油门
            }

            // 油门限幅
            if (throttle_out < 0.0f) throttle_out = 0.0f;
            if (throttle_out > 1.0f) throttle_out = 1.0f;

        } else {
            // 手动模式或定点模式: 直接使用遥控器油门
            alt_hold_enabled = 0;
            throttle_out = throttle;
        }

        // ========== 6. 电机混控 ==========
        Motor_Mix(throttle_out, roll_rate_out, pitch_rate_out, yaw_rate_out);
    }

    // 4ms 周期 (250Hz)
    osDelay(4);
  }
  /* USER CODE END StartCtlTask */
}

void StartImuTask(void const * argument)
{
  /* USER CODE BEGIN StartImuTask */
  Mahony_TypeDef Mahony;
  float roll, pitch, yaw;
  float gx_filtered, gy_filtered, gz_filtered;
  float acc_z_earth;  // 地球坐标系 Z 轴加速度
  uint8_t ret;

  // 等待传感器上电稳定
  osDelay(100);

  printf("Initializing MPU6050...\r\n");
  ret = MPU6050_Init(&hi2c1);

  if (ret == 0) {
      printf("MPU6050 Init Success!\r\n");

      // ========== 陀螺仪零偏校准 ==========
      // 校准期间飞机必须静止！
      MPU6050_CalibrateGyro(&hi2c1);

  } else {
      printf("MPU6050 Init Failed! Check wiring.\r\n");
  }

  // QMC5883L 已在 MX_FREERTOS_Init() 中初始化（避免阻塞高频任务）
  uint8_t qmc_ret = QMC_Data.initialized ? 0 : 1;

  // ========== SPL06 气压计初始化 ==========
  printf("Initializing SPL06 Barometer...\r\n");
  uint8_t spl06_ret = SPL06_Init(&hi2c2);
  if (spl06_ret == 0) {
      printf("SPL06 Init Success!\r\n");
  } else {
      printf("SPL06 Init Failed! Check I2C2 wiring.\r\n");
  }

  // 初始化 Mahony 算法 (Kp=2.0, Ki=0.001)
  Mahony_Init(&Mahony, 2.0f, 0.001f);

  /* Infinite loop */
  static uint32_t spl06_timer = 0;  // SPL06 读取定时器
  static uint8_t qmc_divider = 0;   // QMC5883L 降采样计数器 (500Hz -> 50Hz)

  for(;;)
  {
    if (ret == 0) {
        // 使用带校准补偿的读取函数
        MPU6050_Read_All_Calibrated(&hi2c1, (MPU6050_t *)&MPU6050_Data);

        // 陀螺仪低通滤波 (滤除电机震动)
        gx_filtered = LPF2_Apply(&lpf_gyro_x, MPU6050_Data.Gx);
        gy_filtered = LPF2_Apply(&lpf_gyro_y, MPU6050_Data.Gy);
        gz_filtered = LPF2_Apply(&lpf_gyro_z, MPU6050_Data.Gz);

        // 姿态解算 (使用滤波后的陀螺仪数据)
        Mahony_Update(&Mahony,
                      gx_filtered, gy_filtered, gz_filtered,
                      MPU6050_Data.Ax, MPU6050_Data.Ay, MPU6050_Data.Az,
                      0.002f);

        // 获取欧拉角
        Mahony_GetEulerAngle(&Mahony, &roll, &pitch, &yaw);

        // ========== QMC5883L 磁力计读取与融合 (50Hz 降采样) ==========
        if (qmc_ret == 0 && ++qmc_divider >= 10) {
            qmc_divider = 0;  // 500Hz / 10 = 50Hz

            // 读取原始磁场数据
            if (QMC5883L_ReadRaw(&hi2c1) == 0) {
                // 更新磁力计校准状态 (如果正在校准)
                if (QMC5883L_CalibrateUpdate()) {
                    // 校准完成，蜂鸣器提示
                    Buzzer_SetState(BUZZER_ARMED); // 短响提示
                }

                // 计算航向角（带倾斜补偿）
                float mag_heading = QMC5883L_CalculateHeading(&Mahony);

                // 互补滤波融合：98% 陀螺仪 + 2% 磁力计
                // 防止磁干扰时，降低磁力计权重
                float alpha = 0.98f;  // 默认融合系数

                // Risk #031 修复：添加迟滞逻辑，防止边界抖动导致日志刷屏
                static uint8_t interference_state = 0;  // 0=正常, 1=干扰

                // 迟滞判断（Hysteresis）
                if (QMC_Data.mag_strength > 0.76f || QMC_Data.mag_strength < 0.14f) {
                    // 进入干扰状态（高阈值）
                    if (!interference_state) {
                        interference_state = 1;
                        printf("[QMC5883L] Magnetic interference detected! Strength=%.3f G\r\n",
                               QMC_Data.mag_strength);
                    }
                } else if (QMC_Data.mag_strength < 0.73f && QMC_Data.mag_strength > 0.17f) {
                    // 退出干扰状态（低阈值）
                    if (interference_state) {
                        interference_state = 0;
                        printf("[QMC5883L] Interference cleared. Strength=%.3f G\r\n",
                               QMC_Data.mag_strength);
                    }
                }
                // 0.73~0.76 和 0.14~0.17 之间是死区，状态不变

                // 根据状态调整融合系数
                if (interference_state) {
                    alpha = 0.995f;  // 干扰模式：99.5% 陀螺仪 + 0.5% 磁力计
                } else {
                    alpha = 0.98f;   // 正常模式：98% 陀螺仪 + 2% 磁力计
                }

                // 执行互补滤波（融合陀螺仪 Yaw 和磁力计航向）
                yaw = QMC5883L_ComplementaryFilter(yaw, mag_heading, 0.02f, alpha);
            }
        }

        // 更新全局变量 (供 ctl_task 使用)
        g_roll = roll;
        g_pitch = pitch;
        g_yaw = yaw;
        g_gyro_x = gx_filtered;
        g_gyro_y = gy_filtered;
        g_gyro_z = gz_filtered;

        // ========== 高度融合 ==========
        // 1. 将机体加速度转换到地球坐标系 Z 轴
        acc_z_earth = Altitude_TransformAccZ(&Mahony,
                                              MPU6050_Data.Ax,
                                              MPU6050_Data.Ay,
                                              MPU6050_Data.Az);

        // 2. 互补滤波融合更新 (2ms 周期)
        Altitude_FusionUpdate(&Alt_Data, acc_z_earth, 0.002f);

        // 打印欧拉角 (格式: Roll,Pitch,Yaw) - 配合串口绘图工具使用
        // 降低打印频率，避免阻塞 (每 50ms 打印一次)
        static uint8_t print_cnt = 0;
        if (++print_cnt >= 25) {
            print_cnt = 0;
            printf("%.2f,%.2f,%.2f\r\n", roll, pitch, yaw);
        }
    }

    // ========== SPL06 气压计数据读取 (30ms 间隔，约 33Hz) ==========
    if (spl06_ret == 0 && HAL_GetTick() - spl06_timer >= 30) {
        spl06_timer = HAL_GetTick();

        // 读取气压和温度原始数据
        if (SPL06_ReadRawData(&hi2c2) == 0) {
            // 数据读取成功，SPL06_Data 已更新 (包括 pressure, temperature, altitude)

            // ========== 更新气压计高度 ==========
            // 智能切换逻辑在 Altitude_FusionUpdate 中自动处理（<1.8m激光，>2.2m气压，中间混合）
            if (SPL06_Data.altitude > 0.0f && SPL06_Data.altitude < 100.0f) {
                Altitude_UpdateBarometer(&Alt_Data, SPL06_Data.altitude);
            }

            // 调试打印 (降低频率，每 1 秒打印一次)
            static uint8_t baro_print_cnt = 0;
            if (++baro_print_cnt >= 33) {
                baro_print_cnt = 0;
                printf("[SPL06] P=%.2f Pa, T=%.2f C, Alt=%.2f m\r\n",
                       SPL06_Data.pressure,
                       SPL06_Data.temperature,
                       SPL06_Data.altitude);
            }
        }
    }

    // 2ms 周期 (500Hz)
    osDelay(2);
  }
  /* USER CODE END StartImuTask */
}

void StartCommTask(void const * argument)
{
  /* USER CODE BEGIN StartCommTask */
  static uint32_t status_send_tick = 0;
  static uint32_t voltage_read_tick = 0;
  Status_Packet_t status;

  // ========== 匿名上位机 V7 发送定时器 ==========
  static uint32_t ano_attitude_tick = 0;   // 姿态帧 20Hz (50ms)
  static uint32_t ano_sensor_tick = 0;     // 传感器帧 10Hz (100ms)
  static uint32_t ano_motor_tick = 0;      // 电机帧 10Hz (100ms)
  static uint32_t ano_status_tick = 0;     // 状态帧 5Hz (200ms)

  /* Infinite loop */
  for(;;)
  {
    // ========== 1. 解析 SBUS 数据 ==========
    // SBUS 帧间隔 14ms，这里 10ms 检查一次足够
    SBUS_Parse(SBUS_RxBuffer);

    // ========== 2. 解析光流数据 ==========
    // 从 DMA 缓冲区解析光流帧 (LC302 协议)
    OpticalFlow_Parse(flow_rx_buf, 64);

    // ========== 3. 获取带高度补偿的光流速度 ==========
    // 使用新的 OpticalFlow_GetVelocity 函数，自动进行高度补偿
    float vx_temp, vy_temp;
    if (OpticalFlow_GetVelocity(&vx_temp, &vy_temp)) {
        g_flow_vx = vx_temp;
        g_flow_vy = vy_temp;
    } else {
        g_flow_vx = 0.0f;
        g_flow_vy = 0.0f;
    }

    // ========== 3.5 更新激光高度到高度融合模块 ==========
    // 从光流模块的 distance 字段获取激光高度
    if (Flow_Data.valid) {
        float laser_height_m = Flow_Data.distance / 1000.0f;  // mm -> m
        Altitude_UpdateLaser(&Alt_Data, laser_height_m);
    }

    // ========== 4. 读取电池电压 ==========
    // 每 500ms 读取一次 (电压变化慢)
    if (HAL_GetTick() - voltage_read_tick >= 500) {
        voltage_read_tick = HAL_GetTick();
        g_battery_voltage = Battery_GetVoltage();
    }

    // ========== 5. 更新上位机心跳 (当收到有效指令时) ==========
    // 注意：这里只是示例，实际应在 Protocol_Parse 回调中更新
    // 当收到有效的上位机指令包时，调用: g_pi_last_heartbeat = HAL_GetTick();

    // ========== 6. 周期性保存参数到 Flash ==========
    // 每 2 秒检查一次是否有参数需要保存
    FlashParams_PeriodicSave();

    // ========== 7. 发送状态数据到上位机 (原有协议) ==========
    // 每 100ms 发送一次
    if (HAL_GetTick() - status_send_tick >= 100) {
        status_send_tick = HAL_GetTick();

        status.roll = g_roll;
        status.pitch = g_pitch;
        status.yaw = g_yaw;
        status.voltage = g_battery_voltage;

        Protocol_SendStatus(&huart1, &status);
    }

    // ========== 8. 匿名上位机 V7 协议定时发送 ==========
    uint32_t current_tick = HAL_GetTick();

    // 8.1 姿态数据帧 - 20Hz (50ms)
    if (current_tick - ano_attitude_tick >= 50) {
        ano_attitude_tick = current_tick;
        AnoV7_SendAttitude();
    }

    // 8.2 传感器数据帧 - 10Hz (100ms)
    if (current_tick - ano_sensor_tick >= 100) {
        ano_sensor_tick = current_tick;
        AnoV7_SendSensor();
    }

    // 8.3 电机 PWM 帧 - 10Hz (100ms)
    if (current_tick - ano_motor_tick >= 100) {
        ano_motor_tick = current_tick;
        AnoV7_SendMotor();
    }

    // 8.4 状态数据帧 - 5Hz (200ms)
    if (current_tick - ano_status_tick >= 200) {
        ano_status_tick = current_tick;
        AnoV7_SendStatus();
    }

    osDelay(10);
  }
  /* USER CODE END StartCommTask */
}
